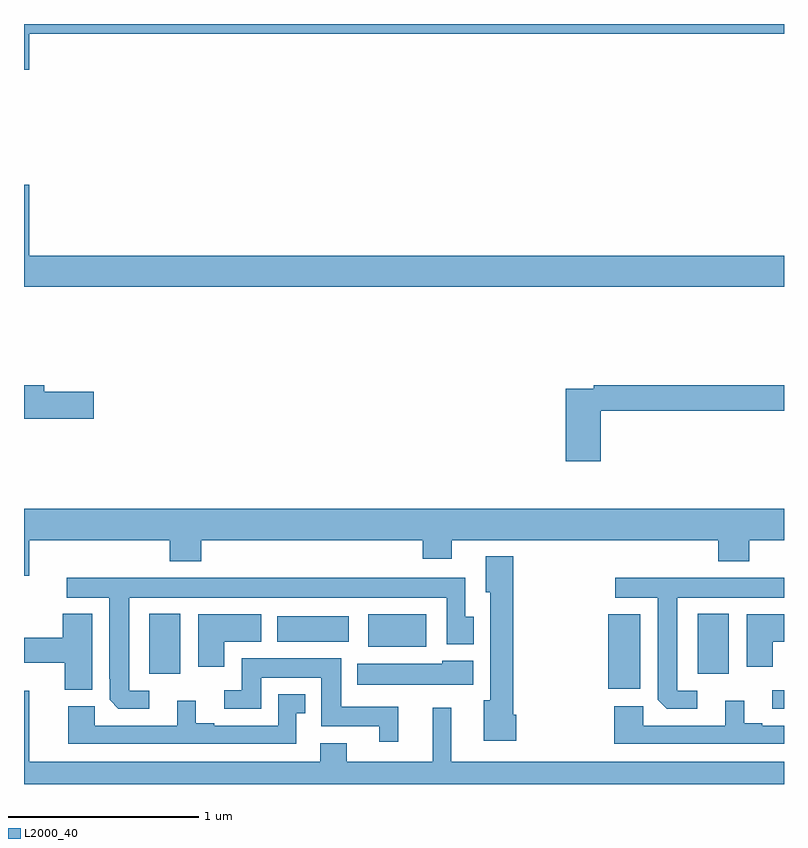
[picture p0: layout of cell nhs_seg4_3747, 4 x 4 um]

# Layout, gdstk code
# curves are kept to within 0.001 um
import gdstk
lib = gdstk.Library(unit=1e-6, precision=1e-09)
def R(c, l, rs):  # rectangles x0, y0, x1, y1
    for r in rs: c.add(gdstk.rectangle(r[:2], r[2:], *l))
def P(c, l, *ps):  # polygons
    for p in ps: c.add(gdstk.Polygon(p, *l))
L2000_40 = (2000, 40)

nhs_seg4_3747 = lib.new_cell('nhs_seg4_3747')
R(nhs_seg4_3747, L2000_40, [(312.939,765.297,313,765.393), (312.074,765.401,312.244,765.793), (309.659,765.48,309.823,765.796), (312.545,765.48,312.709,765.796), (310.811,765.623,311.116,765.793), (310.334,765.65,310.708,765.784)])
P(nhs_seg4_3747, L2000_40, [(309.028,768.848),(313,768.848),(313,768.9),(309,768.9),(309,768.66),(309.028,768.66)],
  [(313,767.68),(309.028,767.68),(309.028,768.055),(309,768.055),(309,767.516),(313,767.516)],
  [(312.035,766.864),(313,766.864),(313,767),(311.998,767),(311.998,766.98),(311.852,766.98),(311.852,766.599),(312.035,766.599)],
  [(309.367,766.964),(309.106,766.964),(309.106,767),(309,767),(309,766.822),(309.367,766.822)],
  [(309.028,766.184),(309.767,766.184),(309.767,766.073),(309.932,766.073),(309.932,766.184),(311.099,766.184),(311.099,766.085),(311.251,766.085),(311.251,766.184),(312.653,766.184),(312.653,766.073),(312.818,766.073),(312.818,766.184),(313,766.184),(313,766.348),(309,766.348),(309,765.996),(309.028,765.996)],
  [(311.591,765.264),(311.576,765.264),(311.576,766.099),(311.429,766.099),(311.429,765.909),(311.453,765.909),(311.453,765.342),(311.42,765.342),(311.42,765.128),(311.591,765.128)],
  [(309.658,765.39),(309.553,765.39),(309.553,765.881),(311.226,765.881),(311.226,765.636),(311.368,765.636),(311.368,765.78),(311.323,765.78),(311.323,765.985),(309.225,765.985),(309.225,765.881),(309.449,765.881),(309.45,765.343),(309.496,765.297),(309.658,765.297)],
  [(312.544,765.39),(312.439,765.39),(312.439,765.881),(313,765.881),(313,765.985),(312.111,765.985),(312.111,765.881),(312.335,765.881),(312.336,765.343),(312.382,765.297),(312.544,765.297)],
  [(309.358,765.796),(309.203,765.796),(309.203,765.669),(309,765.669),(309,765.539),(309.215,765.539),(309.215,765.395),(309.358,765.395)],
  [(310.054,765.65),(310.249,765.65),(310.249,765.793),(309.917,765.793),(309.917,765.516),(310.054,765.516)],
  [(312.94,765.65),(313,765.65),(313,765.793),(312.803,765.793),(312.803,765.516),(312.94,765.516)],
  [(310.97,765.307),(310.669,765.307),(310.669,765.562),(310.145,765.562),(310.145,765.393),(310.053,765.393),(310.053,765.297),(310.249,765.297),(310.249,765.458),(310.565,765.458),(310.565,765.203),(310.871,765.203),(310.871,765.123),(310.97,765.123)],
  [(311.365,765.55),(311.202,765.55),(311.202,765.532),(310.754,765.532),(310.754,765.422),(311.365,765.422)],
  [(313,765.016),(311.248,765.016),(311.248,765.301),(311.15,765.301),(311.15,765.016),(310.699,765.016),(310.699,765.115),(310.559,765.115),(310.559,765.016),(309.028,765.016),(309.028,765.391),(309,765.391),(309,764.9),(313,764.9)],
  [(310.434,765.273),(310.48,765.273),(310.48,765.373),(310.338,765.373),(310.338,765.207),(310,765.207),(310,765.22),(309.904,765.22),(309.904,765.337),(309.806,765.337),(309.806,765.207),(309.372,765.207),(309.372,765.31),(309.233,765.31),(309.233,765.111),(310.434,765.111)],
  [(313,765.207),(312.886,765.207),(312.886,765.22),(312.79,765.22),(312.79,765.337),(312.692,765.337),(312.692,765.207),(312.258,765.207),(312.258,765.31),(312.107,765.31),(312.107,765.111),(313,765.111)])

lib.write_gds('nhs_seg4_3747.gds')
